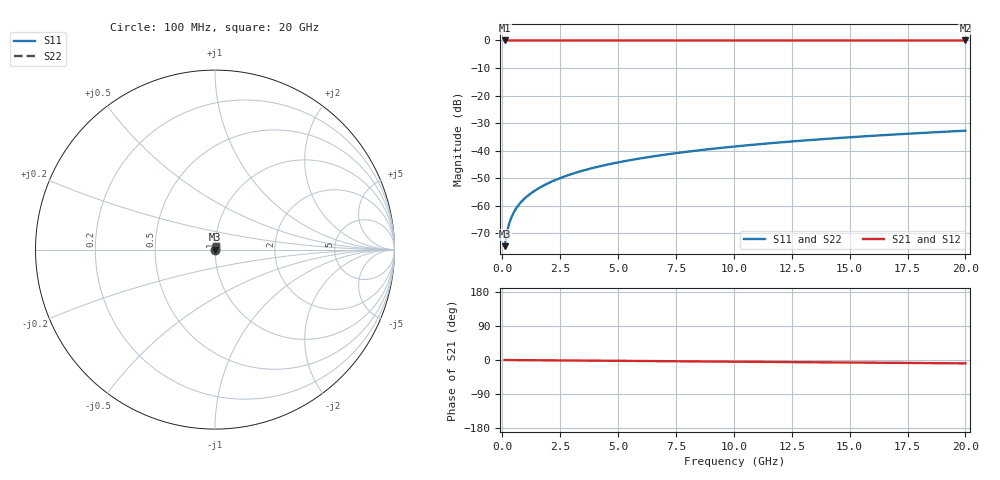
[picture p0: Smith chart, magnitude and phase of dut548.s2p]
! Touchstone file exported from HFSS 2026.1.0
!  File:  C:/ffzhzh/LocalFiles/Ansys_Project_Files/temp_train_TSV_548_1783024216_51716.aedt
!  Generated:  04:32:18 AM Jul  3, 2026
!  Design:  TSV
!  Project:  temp_train_TSV_548_1783024216_51716
! Variables:
!  h_bsmrdl = 2um
!  h_ox = 20um
!  h_rdl = 5um
!  h_sub = 84.49um
!  h_tmrdl = 5um
!  h_tsv = 84.49um
!  h_via = 3um
!  l_bsmrdl = 300um
!  l_sub = 424.64um
!  l_tmrdl = 200um
!  m_sub = 200um
!  pitch = 58.24um
!  r_tsv = 12.32um
!  s_tmrdl = 10um
!  w_bsmrdl = 18um
!  w_sub = 500um
!  w_tmrdl = 12um
!  x_tsv_center1 = 206um
!  x_tsv_center2 = 524um
!  x_tsv_center3 = 736um
!  x_tsv_center4 = 1054um
!  x_tsv_center5 = 1266um
!  x_tsv_center6 = 1584um
# GHz S MA R 50.000000
! Terminal data exported
! Port[1] = TSV1_1_T1
! Port[2] = TSV1_1_T2
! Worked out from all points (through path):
!   200 points, 100 MHz to 20 GHz, reference 50 ohm
!   highest |S21| = 0.00 dB at 100 MHz (marker M1); lowest = 0.0 dB at 20 GHz (marker M2)
!   group delay of S21, straight-line fit = 1.23 ps
!   lowest |S11| = -74.7 dB at 100 MHz (marker M3), VSWR 1.00, Z = 50 + j0.0157 ohm
!   |S11| at or under -10 dB: start of sweep to end of sweep
!   |S22| runs from -74.7 to -32.8 dB; largest |S21 - S12| = 4.3e-15
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0.1  0.0001835 58.8  0.9999 -0.0  0.9999 -0.0  0.0001835 58.8
! Gamma 0 0 0 0
! Port Impedance 50 0 50 0
0.2  0.000329 70.9  0.9999 -0.1  0.9999 -0.1  0.000329 70.9
0.3  0.0004766 74.6  0.9999 -0.1  0.9999 -0.1  0.0004766 74.6
0.4  0.00062 76.1  0.9999 -0.2  0.9999 -0.2  0.00062 76.1
0.5  0.0007581 76.8  0.9998 -0.2  0.9998 -0.2  0.0007581 76.8
0.6  0.0008911 77.2  0.9998 -0.3  0.9998 -0.3  0.0008911 77.2
0.7  0.00102 77.5  0.9998 -0.3  0.9998 -0.3  0.00102 77.5
0.9  0.001269 78.2  0.9997 -0.4  0.9997 -0.4  0.001269 78.2
1.1  0.00151 78.8  0.9997 -0.5  0.9997 -0.5  0.00151 78.8
1.3  0.001748 79.3  0.9997 -0.6  0.9997 -0.6  0.001748 79.3
1.6  0.002104 80.1  0.9997 -0.7  0.9997 -0.7  0.002104 80.1
1.9  0.002458 80.7  0.9996 -0.9  0.9996 -0.9  0.002458 80.7
2.6  0.003286 81.7  0.9996 -1.2  0.9996 -1.2  0.003286 81.7
3.5  0.004348 82.3  0.9995 -1.6  0.9995 -1.6  0.004348 82.3
4.2  0.005168 82.5  0.9995 -1.9  0.9995 -1.9  0.005168 82.5
5  0.0061 82.5  0.9994 -2.2  0.9994 -2.2  0.0061 82.5
6.8  0.008175 82.4  0.9993 -3.0  0.9993 -3.0  0.008175 82.4
8.3  0.009888 82.1  0.9992 -3.7  0.9992 -3.7  0.009888 82.1
10.1  0.01193 81.7  0.9991 -4.5  0.9991 -4.5  0.01193 81.7
13.4  0.01565 80.7  0.999 -5.9  0.999 -5.9  0.01565 80.7
16.7  0.01933 79.6  0.9988 -7.4  0.9988 -7.4  0.01933 79.6
20  0.02297 78.4  0.9986 -8.8  0.9986 -8.8  0.02297 78.4
